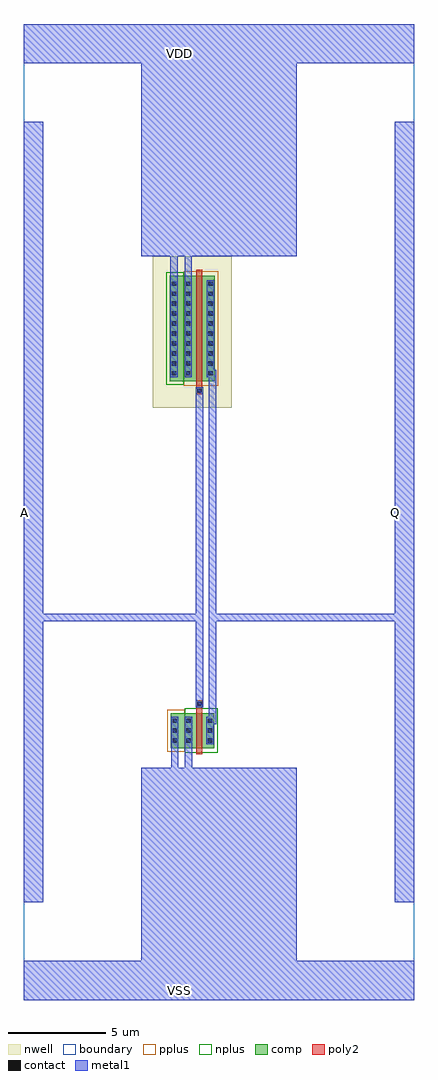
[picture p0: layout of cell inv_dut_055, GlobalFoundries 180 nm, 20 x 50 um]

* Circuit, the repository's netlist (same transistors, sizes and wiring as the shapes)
* inv_dut_055: pfet_03v3 W=5.40u L=0.30u / nfet_03v3 W=1.80u L=0.30u
.SUBCKT inv_dut_055 A Q VDD VSS
MMP Q A VDD VDD pfet_03v3 W=5.40u L=0.30u
MMN Q A VSS VSS nfet_03v3 W=1.80u L=0.30u
.ENDS

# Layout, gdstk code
import gdstk
lib = gdstk.Library(unit=1e-6, precision=1e-09)
def R(c, l, rs):  # rectangles x0, y0, x1, y1
    for r in rs: c.add(gdstk.rectangle(r[:2], r[2:], *l))
def A(c, l, x, y, w, h, nx, ny, dx, dy):  # array of equal rectangles
    R(c, l, [(x+i*dx, y+j*dy, x+i*dx+w, y+j*dy+h) for i in range(nx) for j in range(ny)])
def P(c, l, *ps):  # polygons
    for p in ps: c.add(gdstk.Polygon(p, *l))
boundary = (0, 0)
nwell = (21, 0)
comp = (22, 0)
poly2 = (30, 0)
pplus = (31, 0)
nplus = (32, 0)
contact = (33, 0)
metal1 = (34, 0)

inv_dut_055 = lib.new_cell('inv_dut_055')
R(inv_dut_055, boundary, [(-10,-25,10,25)])
R(inv_dut_055, nwell, [(-3.395,5.33,0.655,13.09)])
R(inv_dut_055, comp, [(-2.475,-12.1,-0.245,-10.3), (-2.535,6.7,-0.205,12.1)])
P(inv_dut_055, poly2, [(-1.155,-12.4),(-1.155,-10),(-1.185,-10),(-1.185,-9.64),(-0.825,-9.64),(-0.825,-10),(-0.855,-10),(-0.855,-12.4)],
  [(-1.195,6.02),(-1.195,6.4),(-1.155,6.4),(-1.155,12.4),(-0.855,12.4),(-0.855,6.4),(-0.815,6.4),(-0.815,6.02)])
R(inv_dut_055, pplus, [(-2.645,-12.27,-1.765,-10.13), (-1.805,6.46,-0.035,12.34)])
R(inv_dut_055, nplus, [(-1.765,-12.34,-0.075,-10.06), (-2.705,6.53,-1.805,12.27)])
A(inv_dut_055, contact, -2.375, -11.82, 0.22, 0.22, 1, 3, 0, 0.51)
A(inv_dut_055, contact, -1.665, -11.82, 0.22, 0.22, 1, 3, 0, 0.51)
A(inv_dut_055, contact, -0.565, -11.82, 0.22, 0.22, 1, 3, 0, 0.51)
A(inv_dut_055, contact, -2.415, 6.995, 0.22, 0.22, 1, 10, 0, 0.51)
A(inv_dut_055, contact, -1.685, 6.995, 0.22, 0.22, 1, 10, 0, 0.51)
A(inv_dut_055, contact, -0.545, 6.995, 0.22, 0.22, 1, 10, 0, 0.51)
R(inv_dut_055, contact, [(-1.115,-9.93,-0.895,-9.71), (-1.115,6.1,-0.895,6.32)])
R(inv_dut_055, metal1, [(-10,-25,10,-23), (-3.995,-23,3.995,-13.4), (-10,-20,-9,20), (9,-20,10,20), (-3.995,-13.7,3.995,-13.1), (-2.455,-13.7,-2.075,-10.5), (-1.745,-13.7,-1.365,-10.5), (-2.455,-11.9,-2.075,-10.5), (-1.745,-11.9,-1.365,-10.5), (-0.645,-11.9,-0.265,-10.5), (-0.645,-10.88,-0.135,-10.5), (-0.515,-10.88,-0.135,7.295), (-1.195,-10.01,-0.815,6.4), (-1.195,-10.01,-0.815,-9.63), (-9,-5.6,-3.695,-5.2), (-3.995,-5.6,-0.815,-5.2), (-0.515,-5.6,3.995,-5.2), (3.695,-5.6,9,-5.2), (-1.195,6.02,-0.815,6.4), (-2.495,6.915,-2.115,13.7), (-2.495,6.915,-2.115,11.885), (-1.765,6.915,-1.385,13.7), (-1.765,6.915,-1.385,11.885), (-0.625,6.915,-0.135,7.295), (-0.625,6.915,-0.245,11.885), (-3.995,13.1,3.995,13.7), (-3.995,13.4,3.995,23), (-10,23,10,25)])
inv_dut_055.add(gdstk.Label('VDD', (-2,23.5), layer=34, texttype=10))
inv_dut_055.add(gdstk.Label('VSS', (-2,-24.5), layer=34, texttype=10))
inv_dut_055.add(gdstk.Label('A', (-9.97,0), layer=34, texttype=10))
inv_dut_055.add(gdstk.Label('Q', (9.03,0), layer=34, texttype=10))

lib.write_gds('inv_dut_055.gds')
